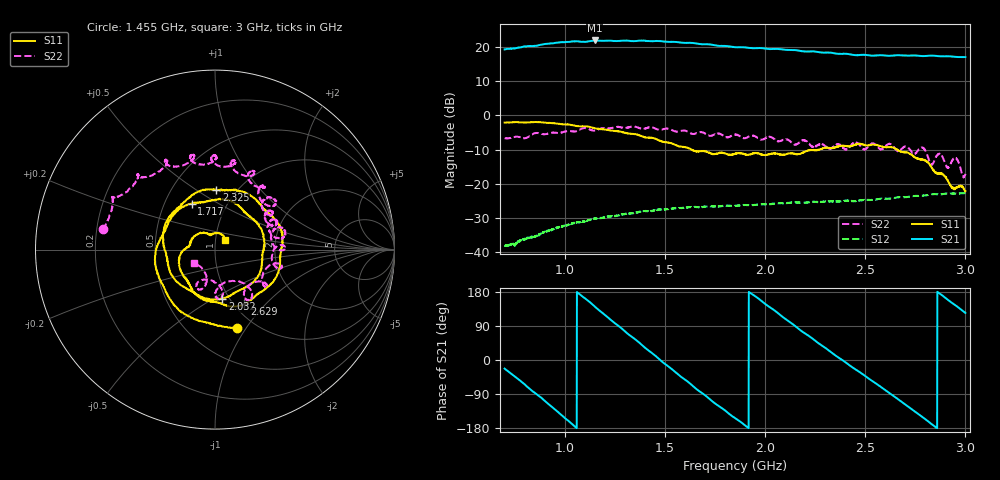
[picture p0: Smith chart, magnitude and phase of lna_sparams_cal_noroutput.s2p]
#  HZ  S  RI  R  50.00
! Rohde & Schwarz Vector Network Analyzer
! Rohde-Schwarz,ZNB20-2Port,1311601062102243,3.20
! Created: UTC 11/3/2022, 2:37:17 PM
! freq[Hz]  re:S11  im:S11  re:S21  im:S21  re:S12  im:S12  re:S22  im:S22
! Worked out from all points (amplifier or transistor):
!   2301 points, 700 MHz to 3 GHz, reference 50 ohm
!   highest |S21| = 21.9 dB at 1.15 GHz (marker M1)
!   |S21| within 3 dB of that: start of sweep to 2.171 GHz (the widest 1 of 2)
!   unconditionally stable (mu >= 1): start of sweep to 927.9 MHz; 1.877 GHz to 1.918 GHz; 1.947 GHz to end of sweep (the widest 3 of 12)
!   at 1.083 GHz: K = 0.87, MSG = 26.3 dB, |S12| = -31.1 dB
!   at 1.85 GHz: K = 0.98, MSG = 23.2 dB, |S12| = -26.4 dB
!   at 3 GHz: K = 1.18, MAG = 17.2 dB, |S12| = -22.7 dB
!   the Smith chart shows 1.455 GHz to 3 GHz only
!   S11 on the Smith chart (normalised r, x): 1.455 GHz: 0.82, -0.91; 1.717 GHz: 0.68, +0.38; 2.032 GHz: 0.93, -0.55; 2.325 GHz: 0.81, +0.61; 2.629 GHz: 1.11, -0.77; 3 GHz: 1.12, +0.12
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7e8  0.7713 0.1495  8.456 -3.551  -0.00132 -0.0125  0.3174 0.3402
8.13e8  0.3631 -0.7013  3.382 -9.661  -0.0118 -0.0115  0.4684 0.0711
9e8  -0.3815 -0.6881  -3.355 -10.53  -0.0197 -0.00434  0.5111 -0.1423
1.002e9  -0.7423 0.0128  -10.49 -5.187  -0.0215 0.0122  0.3477 -0.4666
1.084e9  -0.4605 0.5202  -11.64 2.169  -0.012 0.025  0.0713 -0.6349
1.15e9  -0.0356 0.6486  -9.64 7.798  0.000849 0.0314  -0.1185 -0.5895
1.223e9  0.3584 0.4904  -3.995 11.67  0.0172 0.0288  -0.3847 -0.5167
1.296e9  0.5444 0.1382  2.61 12.07  0.0309 0.0188  -0.5534 -0.3533
1.455e9  0.1213 -0.4374  11.97 2.12  0.0354 -0.0225  -0.6263 0.1128
1.467e9  0.0635 -0.4305  12.15 0.9073  0.0334 -0.0262  -0.5995 0.1616
1.589e9  -0.3129 -0.1454  7.758 -8.45  0.0025 -0.0447  -0.4282 0.4197
1.717e9  -0.1308 0.2558  -1.928 -10.71  -0.0339 -0.0333  -0.2137 0.4632
1.85e9  0.2275 0.1557  -8.835 -4.454  -0.0475 0.00558  0.000273 0.5201
2.032e9  0.0406 -0.2737  -6.74 6.419  -0.0157 0.0487  0.1979 0.4373
2.137e9  -0.2515 -0.1188  -0.7879 8.951  0.0193 0.0499  0.2402 0.3079
2.234e9  -0.2492 0.189  4.578 7.255  0.0458 0.0303  0.2622 0.2346
2.325e9  0.00808 0.3309  7.592 3.15  0.0556 0.000348  0.2889 0.1526
2.478e9  0.3774 0.0702  6.311 -4.278  0.0348 -0.0462  0.3322 0.1181
2.617e9  0.198 -0.2817  0.5399 -7.392  -0.0126 -0.0599  0.3706 -0.1029
2.629e9  0.1635 -0.304  -0.0168 -7.416  -0.017 -0.0591  0.3678 -0.0837
2.829e9  -0.1772 -0.00458  -7.291 -1.524  -0.0701 -0.000938  0.0777 -0.1761
3e9  0.0576 0.0533  -3.976 5.868  -0.0319 0.0663  -0.1181 -0.076
